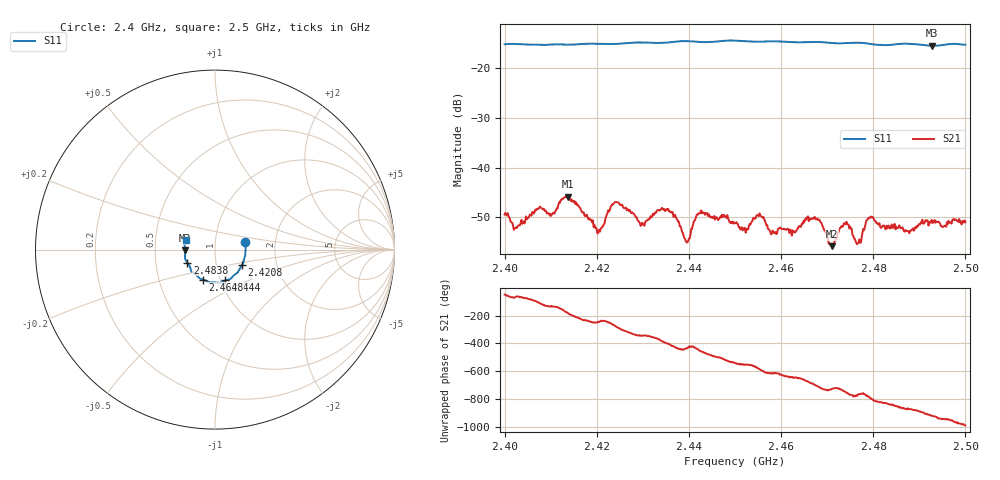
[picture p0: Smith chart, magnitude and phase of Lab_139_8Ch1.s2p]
# Hz S RI R 50
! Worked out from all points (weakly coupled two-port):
!   601 points, 2.4 GHz to 2.5 GHz, reference 50 ohm
!   highest |S21| = -45.82 dB at 2.4138 GHz (marker M1); lowest = -55.7 dB at 2.471 GHz (marker M2)
!   lowest |S11| = -15.6 dB at 2.4928 GHz (marker M3), VSWR 1.40, Z = 35.8 - j0.327 ohm
!   |S11| at or under -10 dB: start of sweep to end of sweep
!   S12 and S22 are empty: the file has one direction only
!   S11 on the Smith chart (normalised r, x): 2.4 GHz: 1.40, +0.12; 2.4208 GHz: 1.33, -0.24; 2.444 GHz: 1.06, -0.37; 2.4648 GHz: 0.83, -0.29; 2.4838 GHz: 0.73, -0.11; 2.5 GHz: 0.72, +0.08
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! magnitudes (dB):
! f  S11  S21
! 2.4 GHz  -15.3  -49.4
! 2.4025 GHz  -15.2  -52.0
! 2.4138 GHz  -15.4  -45.8
! 2.4167 GHz  -15.2  -48.7
! 2.4208 GHz  -15.2  -52.3
! 2.4242 GHz  -15.2  -46.9
! 2.4298 GHz  -14.9  -51.1
! 2.4333 GHz  -15.0  -48.5
! 2.4365 GHz  -14.8  -49.0
! 2.4395 GHz  -14.7  -55.0
! 2.444 GHz  -14.9  -49.2
! 2.45 GHz  -14.6  -51.2
! 2.4648 GHz  -14.9  -50.8
! 2.4667 GHz  -14.8  -50.3
! 2.471 GHz  -15.0  -55.7
! 2.474 GHz  -15.0  -51.3
! 2.4768 GHz  -15.0  -55.1
! 2.4793 GHz  -15.2  -50.1
! 2.4833 GHz  -15.4  -51.6
! 2.4838 GHz  -15.4  -52.2
! 2.4928 GHz  -15.6  -51.1
! 2.5 GHz  -15.4  -50.9
